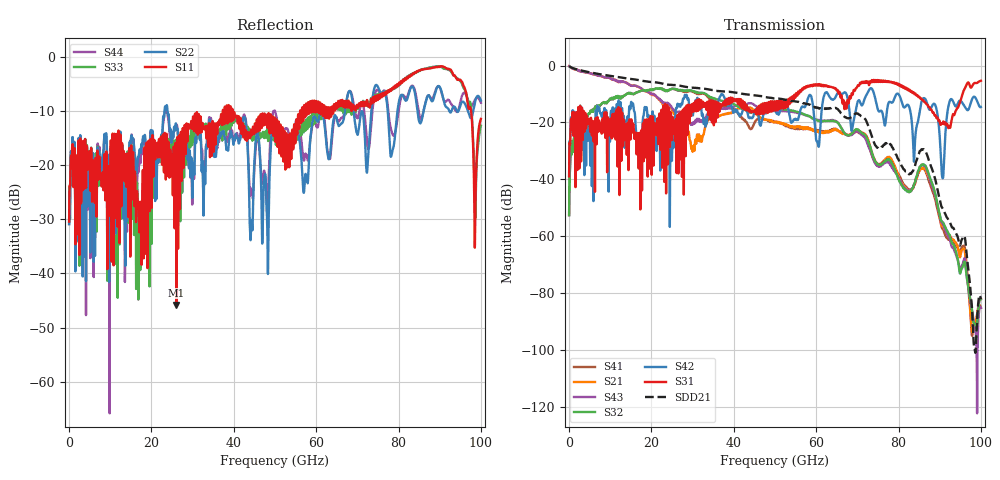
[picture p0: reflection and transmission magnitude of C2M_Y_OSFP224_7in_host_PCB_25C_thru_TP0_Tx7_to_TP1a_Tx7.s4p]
# GHz S RI R 45
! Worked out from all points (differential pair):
!   4000 points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, 25 MHz to 100 GHz, reference 45 ohm
!   strongest paths, dB at 25 MHz, 25.02 GHz, 50.02 GHz, 75.03 GHz, 100 GHz:
!     S31: -38.9, -22.2, -13.5, -5.3, -5.3
!     S42: -38.8, -30.3, -16.0, -15.6, -14.6
!     S32: -52.6, -8.2, -15.2, -34.7, -82.2
!     S43: -0.2, -15.0, -16.0, -35.4, -85.2
!     S21: -0.2, -15.7, -19.8, -34.5, -82.0
!     S41: -52.6, -8.2, -19.7, -35.1, -85.1
!   taken as a pair (ports 3,1 in; 4,2 out), SDD21 dB: -0.2, -6.8, -11.6, -28.9, -82.2
!   lowest |S11| = -45.8 dB at 26.05 GHz (marker M1), VSWR 1.01, Z = 45 + j0.46 ohm
!   |S11| at or under -10 dB: start of sweep to 37.34 GHz; 39.72 GHz to 56.11 GHz (16.39 GHz wide, 34.2 % of centre); 97.62 GHz to end of sweep (the widest 3 of 26)
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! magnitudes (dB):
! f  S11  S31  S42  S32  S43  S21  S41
! 25 MHz  -30.4  -38.9  -38.8  -52.6  -0.2  -0.2  -52.6
! 5.25 GHz  -20.2  -19.4  -22.4  -15.9  -2.8  -2.8  -15.8
! 26.05 GHz  -45.8  -22.9  -15.1  -8.4  -16.4  -17.7  -8.5
! 86.08 GHz  -2.4  -12.3  -11.5  -34.7  -34.9  -36.0  -36.2
! 90.67 GHz  -1.7  -20.5  -39.5  -55.0  -55.7  -56.7  -57.4
! 92.6 GHz  -2.4  -21.6  -12.0  -60.6  -62.0  -60.1  -61.7
! 100 GHz  -11.5  -5.3  -14.6  -82.2  -85.2  -82.0  -85.1
